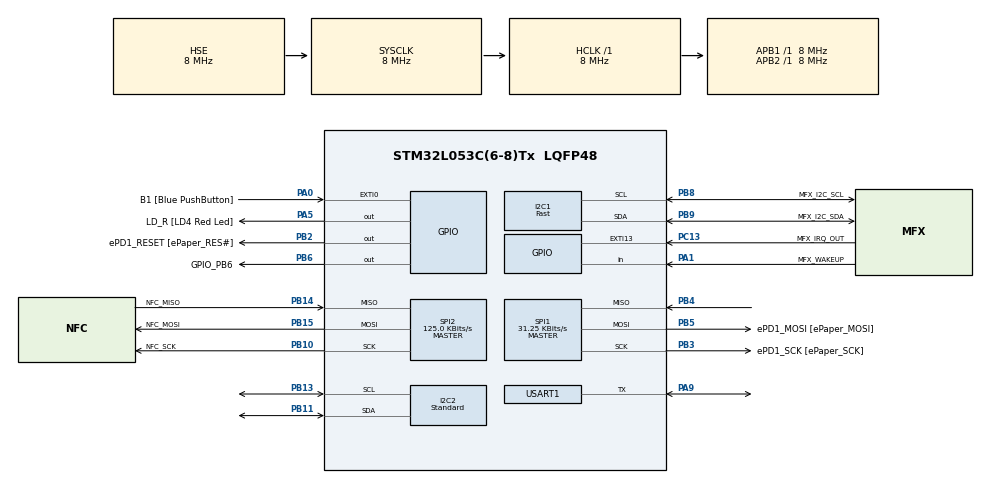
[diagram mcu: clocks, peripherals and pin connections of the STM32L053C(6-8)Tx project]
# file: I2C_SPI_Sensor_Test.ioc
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I2C1.I2C_Speed_Mode=I2C_Fast
I2C1.Timing=0x0000020B
I2C2.I2C_Rise_Time=0
I2C2.I2C_Speed_Mode=I2C_Standard
I2C2.OwnAddress=0
I2C2.Timing=0x2000090E
Mcu.Family=STM32L0
Mcu.Name=STM32L053C(6-8)Tx
Mcu.Package=LQFP48
PA0.GPIO_Label=B1 [Blue PushButton]
PA0.GPIO_ModeDefaultEXTI=GPIO_MODE_EVT_RISING
PA0.GPIO_PuPd=GPIO_NOPULL
PA0.Signal=GPXTI0
PA1.GPIO_Label=MFX_WAKEUP
PA1.Signal=GPIO_Input
PA10.Signal=USART1_RX
PA11.GPIO_Label=USB1_DM
PA11.Signal=USB_DM
PA12.GPIO_Label=USB1_DP
PA12.Signal=USB_DP
PA13.GPIO_Label=SWDIO
PA13.Mode=Serial_Wire
PA13.Signal=SYS_SWDIO
PA14.Mode=Serial_Wire
PA14.Signal=SYS_SWCLK
PA2.Signal=TSC_G1_IO3
PA4.Signal=TSC_G2_IO1
PA5.GPIO_Label=LD_R [LD4 Red Led]
PA5.GPIO_ModeDefaultOutputPP=GPIO_MODE_OUTPUT_PP
PA5.GPIO_PuPd=GPIO_NOPULL
PA5.GPIO_Speed=GPIO_SPEED_FREQ_LOW
PA5.Signal=GPIO_Output
PA6.Signal=TSC_G2_IO3
PA7.Signal=TSC_G2_IO4
PA9.Mode=Half_duplex(single_wire_mode)
PA9.Signal=USART1_TX
PB0.Signal=TSC_G3_IO2
PB1.Signal=TSC_G3_IO3
PB10.GPIO_Label=NFC_SCK
PB10.Mode=Full_Duplex_Master
PB10.Signal=SPI2_SCK
PB11.Mode=I2C
PB11.Signal=I2C2_SDA
PB12.Signal=SPI2_NSS
PB13.Mode=I2C
PB13.Signal=I2C2_SCL
PB14.GPIO_Label=NFC_MISO
PB14.Mode=Full_Duplex_Master
PB14.Signal=SPI2_MISO
PB15.GPIO_Label=NFC_MOSI
PB15.Mode=Full_Duplex_Master
PB15.Signal=SPI2_MOSI
PB2.GPIO_Label=ePD1_RESET [ePaper_RES\#]
PB2.GPIO_ModeDefaultOutputPP=GPIO_MODE_OUTPUT_PP
PB2.GPIO_PuPd=GPIO_NOPULL
PB2.GPIO_Speed=GPIO_SPEED_FREQ_LOW
PB2.Signal=GPIO_Output
PB3.GPIO_Label=ePD1_SCK [ePaper_SCK]
PB3.GPIO_Mode=GPIO_MODE_AF_PP
PB3.GPIO_PuPd=GPIO_NOPULL
PB3.GPIO_Speed=GPIO_SPEED_FREQ_LOW
PB3.Mode=Full_Duplex_Master
PB3.Signal=SPI1_SCK
PB4.Mode=Full_Duplex_Master
PB4.Signal=SPI1_MISO
PB5.GPIO_Label=ePD1_MOSI [ePaper_MOSI]
PB5.GPIO_Mode=GPIO_MODE_AF_PP
PB5.GPIO_PuPd=GPIO_NOPULL
PB5.GPIO_Speed=GPIO_SPEED_FREQ_LOW
PB5.Mode=Full_Duplex_Master
PB5.Signal=SPI1_MOSI
PB6.GPIO_Label=GPIO_PB6
PB6.Signal=GPIO_Output
PB8.GPIO_Label=MFX_I2C_SCL
PB8.GPIO_Pu=GPIO_PULLUP
PB8.Mode=I2C
PB8.Signal=I2C1_SCL
PB9.GPIO_Label=MFX_I2C_SDA
PB9.GPIO_Pu=GPIO_PULLUP
PB9.Mode=I2C
PB9.Signal=I2C1_SDA
PC13.GPIO_Label=MFX_IRQ_OUT
PC13.Signal=GPXTI13
PC14-OSC32_IN.GPIO_Label=PC14-OSC32_IN
PC14-OSC32_IN.Signal=RCC_OSC32_IN
PC15-OSC32_OUT.GPIO_Label=PC15-OSC32_OUT
PC15-OSC32_OUT.Signal=RCC_OSC32_OUT
PH0-OSC_IN.GPIO_Label=MCO
PH0-OSC_IN.Mode=HSE-External-Oscillator
PH0-OSC_IN.Signal=RCC_OSC_IN
PH1-OSC_OUT.Mode=HSE-External-Oscillator
PH1-OSC_OUT.Signal=RCC_OSC_OUT
ProjectManager.HeapSize=0x200
ProjectManager.StackSize=0x400
ProjectManager.TargetToolchain=STM32CubeIDE
RCC.AHBFreq_Value=8000000
RCC.APB1Freq_Value=8000000
RCC.APB1TimFreq_Value=8000000
RCC.APB2Freq_Value=8000000
RCC.APB2TimFreq_Value=8000000
RCC.HCLKFreq_Value=8000000
RCC.HSE_VALUE=8000000
RCC.HSI16_VALUE=16000000
RCC.HSI48MClockSelection=RCC_USBCLKSOURCE_HSI48
RCC.HSI48_VALUE=48000000
RCC.HSI_VALUE=16000000
RCC.LSE_VALUE=32768
RCC.MSI_VALUE=2097000
RCC.PLLDIV=RCC_PLLDIV_3
RCC.PLLMUL=RCC_PLLMUL_12
RCC.PLLSourceVirtual=RCC_PLLSOURCE_HSE
RCC.RTCClockSelectionVirtual=RCC_RTCCLKSOURCE_LSE
RCC.SYSCLKFreq_VALUE=8000000
RCC.SYSCLKSource=RCC_SYSCLKSOURCE_HSE
RCC.VCOOutputFreq_Value=96000000
SPI1.BaudRatePrescaler=SPI_BAUDRATEPRESCALER_256
SPI1.CalculateBaudRate=31.25 KBits/s
SPI1.Direction=SPI_DIRECTION_2LINES
SPI1.Mode=SPI_MODE_MASTER
SPI1.VirtualType=VM_MASTER
SPI2.BaudRatePrescaler=SPI_BAUDRATEPRESCALER_64
SPI2.CLKPolarity=SPI_POLARITY_LOW
SPI2.CalculateBaudRate=125.0 KBits/s
SPI2.DataSize=SPI_DATASIZE_8BIT
SPI2.Direction=SPI_DIRECTION_2LINES
SPI2.Mode=SPI_MODE_MASTER
SPI2.VirtualType=VM_MASTER
USART1.BaudRate=115200
USART1.VirtualMode-Half_duplex(single_wire_mode)=VM_ASYNC
board=STM32L0538-DISCO

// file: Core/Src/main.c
/* USER CODE BEGIN Header */
/**
  ******************************************************************************
  * @file           : main.c
  * @brief          : Main program body for I2C_SPI_Sensor_Test project
  ******************************************************************************
  * @attention
  *
  * Copyright (c) 2021 STMicroelectronics.
  * All rights reserved.
  *
  * This software is licensed under terms that can be found in the LICENSE file
  * in the root directory of this software component.
  * If no LICENSE file comes with this software, it is provided AS-IS.
  *
  ******************************************************************************
  */
/* USER CODE END Header */
#include "main.h"

/* USER CODE BEGIN Includes */
// IMPORTANT: printf prints out over UART - Pins PA10, PA9! NEED A USB-SERIAL CONVERTER
// AND TERMINAL TO SEE STATEMENTS!
#include "printf.h"
#include "NAND_m79a.h"
//#include "interface_methods.h"
//#include "arducam_methods.h"
//#include "ArduCAM.h"
/* USER CODE END Includes */

I2C_HandleTypeDef hi2c1;
I2C_HandleTypeDef hi2c2;

SPI_HandleTypeDef hspi1;
SPI_HandleTypeDef hspi2;

UART_HandleTypeDef huart1;

void SystemClock_Config(void);
static void MX_GPIO_Init(void);
static void MX_SPI2_Init(void);
static void MX_SPI1_Init(void);
static void MX_I2C1_Init(void);
static void MX_I2C2_Init(void);
static void MX_USART1_UART_Init(void);
/* USER CODE BEGIN PFP */
#define testaddr 0x00
#define testwrite 0x55
/* USER CODE END PFP */

/* USER CODE BEGIN 0 */
uint8_t hi2c2_read_reg_IT(uint8_t addr, uint16_t reg_addr){
	uint8_t RxBuf[2];
	HAL_I2C_Master_Transmit_IT(&hi2c2, (addr<<1)|0x01, reg_addr, sizeof(reg_addr));
}
uint16_t hi2c2_read_register(uint8_t address_pointer, uint16_t register_pointer)
{
    HAL_StatusTypeDef status = HAL_OK;
//    uint16_t return_value = 0;
    uint16_t buf[2];
    buf[0] = (uint16_t *)register_pointer;
    buf[1] = 0x00;
    status = HAL_I2C_Master_Transmit(&hi2c2, ((address_pointer<<1) | 0x01), buf, 1, HAL_MAX_DELAY);

    /* Check the communication status */
    if(status != HAL_OK)
    {
    	printf("I2C transmit failed");
    	return;
    }

    status = HAL_I2C_Master_Receive(&hi2c2, (address_pointer<<1) | 0x01, buf, 2, HAL_MAX_DELAY);

    /* Check the communication status */
//    if(status != HAL_OK)
//    {
//    	printf("I2C Recieve failed");
//    	return;
//    }
    return buf[1];
}

void hi2c2_write_register(uint8_t address_pointer,uint8_t register_pointer, uint16_t register_value)
{
    HAL_StatusTypeDef status = HAL_OK;

    status = HAL_I2C_Mem_Write(&hi2c2, address_pointer<<1, (uint16_t)register_pointer, I2C_MEMADD_SIZE_8BIT, (uint8_t*)(&register_value), 2, 100);

    /* Check the communication status */
    if(status != HAL_OK)
    {
        // Error handling, for example re-initialization of the I2C peripheral
    	printf("I2C write to 0x%x failed...\r\n", register_pointer );
    }
}

void scan_i2c(){
	HAL_StatusTypeDef result;
	uint8_t i =0;

	printf("--------------------\r\n");
	printf("Scanning I2C...\r\n");

	for (i=0; i<128; i++){
		result = HAL_I2C_IsDeviceReady(&hi2c2, (uint16_t)(i<<1), 2, 2);

		if (result == HAL_OK){
			printf("I2C address found: 0x%X\r\n", (uint16_t)(i<<1));
		}
	}
	printf("I2C Scan Complete\r\n--------------------\r\n");

}

void test_i2c(){
	    HAL_StatusTypeDef result;
	    uint8_t i;
	    for (i=1; i<128; i++)
	  	{
	  	  result = HAL_I2C_IsDeviceReady(&hi2c1, (uint16_t)(i<<1), 2, 2);

	  	  if (result == HAL_OK)
	  	  {
	  		  printf("I2C address found: 0x%X\r\n", (uint16_t)(i<<1));
	  	  }
	  	}

	    uint8_t reg_ptr = 0x00;
	    uint16_t buffer;
	//    hi2c1_write_register(0x78, reg_ptr, 0x05);

	    // 0xEC is a BME280 I had laying around to test I2C
	    // Upon power up this should be 0x0
	    printf("Reading from 0xF5 on 0xEC\r\n");
	    buffer = hi2c2_read_register(0xEC, 0xF5);
	    printf("Obtained 0x%x\r\n\n", buffer);
	    // write binary 101 to reg
	    printf("\nWriting b101 to 0xF5 on 0xEC\r\n");
	    hi2c2_write_register(0xEC, 0xF5, 0b101);
	    printf("Obtained 0x%x\r\n\n", buffer);
	    // read back to assert it's written properly (redundant; hi2c1_write_register should throw an error if it fails)
	    printf("\nReading from 0xF5 on 0xEC\r\n");
	    buffer = hi2c2_read_register(0xEC, 0xF5);
	    printf("Obtained 0x%x\r\n\n", buffer);
	    // Read test reg for fun
	    printf("\nReading from 0xD0 on 0xEC\r\n");
	    buffer = hi2c2_read_register(0xEC, 0xD0);
	    printf("Obtained 0x%x\r\n\n", buffer);

	    // Try to scan ArduCam chip to no avail :?
	    for (int j=0x3000; j<0x3009; j++){
	    		printf("Reading from 0x%x on 0x79\r\n", j);
	    		buffer = hi2c2_read_register(0x79, j);
	    	    printf("Obtained 0x%x\r\n", buffer);

	    }
}

uint8_t SPI_Write(uint8_t addr, uint8_t data){
	uint8_t txBuf[2] = {(addr | 0x80), data};
	HAL_GPIO_WritePin(GPIO_PB6_GPIO_Port, GPIO_PB6_Pin, GPIO_PIN_RESET);
	uint8_t status = (HAL_SPI_Transmit(&hspi2, txBuf, 2, HAL_MAX_DELAY) == HAL_OK);
	HAL_GPIO_WritePin(GPIO_PB6_GPIO_Port, GPIO_PB6_Pin, GPIO_PIN_SET);

	return status;
}

uint8_t SPI_Read(uint8_t addr, uint8_t *data) {
	uint8_t txBuf[2] = {addr, 0x00};
	uint8_t rxBuf[2];
	HAL_GPIO_WritePin(GPIO_PB6_GPIO_Port, GPIO_PB6_Pin, GPIO_PIN_RESET);
	uint8_t status = (HAL_SPI_TransmitReceive(&hspi2, txBuf, rxBuf, 2, HAL_MAX_DELAY) == HAL_OK);
//	HAL_Delay(100);
	HAL_GPIO_WritePin(GPIO_PB6_GPIO_Port, GPIO_PB6_Pin, GPIO_PIN_SET);
	*data = rxBuf[1];
	return status;
}

void CS_LOW(){
	HAL_GPIO_WritePin(GPIO_PB6_GPIO_Port, GPIO_PB6_Pin, GPIO_PIN_RESET);
}

void CS_HIGH(){
	HAL_GPIO_WritePin(GPIO_PB6_GPIO_Port, GPIO_PB6_Pin, GPIO_PIN_SET);

}
//
//void detect_ov5642(){
//	uint8_t temp=0;
//	CS_LOW();
//	HAL_Delay(100);
//	uint8_t data[2];
//	data[0] = 0x00 | 0x80;
//	data[1] = 0x55;
//	// send spi
//	HAL_SPI_Init(&hspi1);
//	HAL_StatusTypeDef status;
//    char spi_buf[2];
////    status = HAL_SPI_TransmitReceive(&hspi1, &data, (uint8_t *)spi_buf, 2, 100);
//	status = HAL_SPI_Transmit(&hspi1, data, 2, 100);
////    while(HAL_SPI_GetState(&hspi1) != HAL_SPI_STATE_READY);
//	if (status == HAL_OK){
//		printf("Transmitted successfully.\r\n");
//	}
//	else{
//		if (status == HAL_TIMEOUT){
//			printf("Connection timed out\r\n");
//		}
//		printf("Transmission failed.\r\n");
//	}
//	status = HAL_SPI_Receive(&hspi1, (uint8_t *)spi_buf, 2, 100);
////    while(HAL_SPI_GetState(&hspi1) != HAL_SPI_STATE_READY);
//	if (status == HAL_OK){
//		printf("Recieved successfully.\r\n");
//	}
//	else{
//		if (status == HAL_TIMEOUT){
//			printf("Connection timed out\r\n");
//		}
//		printf("Receive failed.\r\n");
//	}
//	HAL_Delay(100);
//	CS_HIGH();
//	printf("Received: 0x%x", spi_buf);
//	}

/* USER CODE END 0 */

int main(void)
{
  /* USER CODE BEGIN 1 */
	// this shouldn't be deleted!

  /* USER CODE END 1 */

  /* MCU Configuration--------------------------------------------------------*/

  /* Reset of all peripherals, Initializes the Flash interface and the Systick. */
  HAL_Init();

  /* Configure the system clock */
  SystemClock_Config();

  /* Initialize all configured peripherals */
  MX_GPIO_Init();
  MX_SPI2_Init();
  MX_SPI1_Init();
  MX_I2C1_Init();
  MX_I2C2_Init();
  MX_USART1_UART_Init();
  /* USER CODE BEGIN 2 */
	HAL_Delay(1000);
	printf("\r\n--------\r\n\r\nProject: I2C__SPI_Sensor_Test; V0.1\r\nInitializing UART..\n\rConnected to UART.\r\n");

//	scan_i2c();
//	HAL_I2C_IsDeviceReady(&hi2c2, (uint16_t)(0x78<<1), 2, 2);

	CS_HIGH();
//	printf("Testing SPI Connection\r\n");
//	detect_ov5642();
  /* USER CODE END 2 */

  /* Infinite loop */
  /* USER CODE BEGIN WHILE */
//	uint8_t data[2];
//	data[0] = 0x00 | 0x80;
//	data[1] = 0x55;
//	// send spi
//	HAL_StatusTypeDef status;
//	uint8_t spi_buf[2];

	uint8_t data;
//    HAL_StatusTypeDef result;
    static const uint8_t addr = 0x3C;
    uint16_t reg = 0x300A;

	NANDReturnType result;
	char helloworld[] = "Hello World";

	while (1)
	{
//		######### SPI RW
//		SPI_Write(0x00, 0x11);
//		HAL_Delay(100);
//		SPI_Read(0x00, &data);6
//		if (data != 0){
//			printf("0x00: 0x%x\r\n", data);
//		}
//		reg = 0x300A;
//		data = hi2c2_read_register(addr, reg);
//		printf("Addr: 0x%x: Reg: 0x%x: Data: 0x%x\r\n", (addr <<1) |0x01, reg, data);
//		reg = 0x300B;
//		data = hi2c2_read_register(addr, reg);
//		printf("Addr: 0x%x: Reg: 0x%x: Data: 0x%x\r\n", (addr <<1) |0x01, reg, data);

		result = NAND_Init(&hspi2);
		if (result == Ret_Success){
			printf("NAND Initialized successfully");
			return;
		}
		printf("NAND is borked :(");

//		  HAL_SPI_DeInit(&hspi2);
//
//		  HAL_SPI_Init(&hspi2);
//		  HAL_SPI_Transmit(&hspi2, (uint8_t *)helloworld, sizeof(helloworld), HAL_MAX_DELAY);
//		  HAL_SPI_DeInit(&hspi2);
//
//		  NAND_Init(&hspi2);

		HAL_Delay(1000);

//		HAL_SPI_Init(&hspi2);
//		for (int i=0x00; i<0x45; i++){
//	        SPI_Read(i, &data);
//	        if (data != 0){
//		        printf("Reading from 0x%x: 0x%x\r\n", i, data);
//	        }
//			HAL_Delay(50);
//		}
		printf("--------\r\n");

//		HAL_SPI_DeInit(&hspi2);
    /* USER CODE END WHILE */

	}
}

void SystemClock_Config(void)
{
  RCC_OscInitTypeDef RCC_OscInitStruct = {0};
  RCC_ClkInitTypeDef RCC_ClkInitStruct = {0};
  RCC_PeriphCLKInitTypeDef PeriphClkInit = {0};

  /** Configure the main internal regulator output voltage
  */
  __HAL_PWR_VOLTAGESCALING_CONFIG(PWR_REGULATOR_VOLTAGE_SCALE1);
  /** Initializes the RCC Oscillators according to the specified parameters
  * in the RCC_OscInitTypeDef structure.
  */
  RCC_OscInitStruct.OscillatorType = RCC_OSCILLATORTYPE_HSE;
  RCC_OscInitStruct.HSEState = RCC_HSE_ON;
  RCC_OscInitStruct.PLL.PLLState = RCC_PLL_NONE;
  if (HAL_RCC_OscConfig(&RCC_OscInitStruct) != HAL_OK)
  {
    Error_Handler();
  }
  /** Initializes the CPU, AHB and APB buses clocks
  */
  RCC_ClkInitStruct.ClockType = RCC_CLOCKTYPE_HCLK|RCC_CLOCKTYPE_SYSCLK
                              |RCC_CLOCKTYPE_PCLK1|RCC_CLOCKTYPE_PCLK2;
  RCC_ClkInitStruct.SYSCLKSource = RCC_SYSCLKSOURCE_HSE;
  RCC_ClkInitStruct.AHBCLKDivider = RCC_SYSCLK_DIV1;
  RCC_ClkInitStruct.APB1CLKDivider = RCC_HCLK_DIV1;
  RCC_ClkInitStruct.APB2CLKDivider = RCC_HCLK_DIV1;

  if (HAL_RCC_ClockConfig(&RCC_ClkInitStruct, FLASH_LATENCY_0) != HAL_OK)
  {
    Error_Handler();
  }
  PeriphClkInit.PeriphClockSelection = RCC_PERIPHCLK_USART1|RCC_PERIPHCLK_I2C1;
  PeriphClkInit.Usart1ClockSelection = RCC_USART1CLKSOURCE_PCLK2;
  PeriphClkInit.I2c1ClockSelection = RCC_I2C1CLKSOURCE_PCLK1;
  if (HAL_RCCEx_PeriphCLKConfig(&PeriphClkInit) != HAL_OK)
  {
    Error_Handler();
  }
}

static void MX_I2C1_Init(void)
{

  hi2c1.Instance = I2C1;
  hi2c1.Init.Timing = 0x0000020B;
  hi2c1.Init.OwnAddress1 = 0;
  hi2c1.Init.AddressingMode = I2C_ADDRESSINGMODE_7BIT;
  hi2c1.Init.DualAddressMode = I2C_DUALADDRESS_DISABLE;
  hi2c1.Init.OwnAddress2 = 0;
  hi2c1.Init.OwnAddress2Masks = I2C_OA2_NOMASK;
  hi2c1.Init.GeneralCallMode = I2C_GENERALCALL_DISABLE;
  hi2c1.Init.NoStretchMode = I2C_NOSTRETCH_DISABLE;
  if (HAL_I2C_Init(&hi2c1) != HAL_OK)
  {
    Error_Handler();
  }
  /** Configure Analogue filter
  */
  if (HAL_I2CEx_ConfigAnalogFilter(&hi2c1, I2C_ANALOGFILTER_ENABLE) != HAL_OK)
  {
    Error_Handler();
  }
  /** Configure Digital filter
  */
  if (HAL_I2CEx_ConfigDigitalFilter(&hi2c1, 0) != HAL_OK)
  {
    Error_Handler();
  }

}

static void MX_I2C2_Init(void)
{

  hi2c2.Instance = I2C2;
  hi2c2.Init.Timing = 0x2000090E;
  hi2c2.Init.OwnAddress1 = 0;
  hi2c2.Init.AddressingMode = I2C_ADDRESSINGMODE_7BIT;
  hi2c2.Init.DualAddressMode = I2C_DUALADDRESS_DISABLE;
  hi2c2.Init.OwnAddress2 = 0;
  hi2c2.Init.OwnAddress2Masks = I2C_OA2_NOMASK;
  hi2c2.Init.GeneralCallMode = I2C_GENERALCALL_DISABLE;
  hi2c2.Init.NoStretchMode = I2C_NOSTRETCH_DISABLE;
  if (HAL_I2C_Init(&hi2c2) != HAL_OK)
  {
    Error_Handler();
  }
  /** Configure Analogue filter
  */
  if (HAL_I2CEx_ConfigAnalogFilter(&hi2c2, I2C_ANALOGFILTER_ENABLE) != HAL_OK)
  {
    Error_Handler();
  }
  /** Configure Digital filter
  */
  if (HAL_I2CEx_ConfigDigitalFilter(&hi2c2, 0) != HAL_OK)
  {
    Error_Handler();
  }

}

static void MX_SPI1_Init(void)
{

  /* SPI1 parameter configuration*/
  hspi1.Instance = SPI1;
  hspi1.Init.Mode = SPI_MODE_MASTER;
  hspi1.Init.Direction = SPI_DIRECTION_2LINES;
  hspi1.Init.DataSize = SPI_DATASIZE_8BIT;
  hspi1.Init.CLKPolarity = SPI_POLARITY_LOW;
  hspi1.Init.CLKPhase = SPI_PHASE_1EDGE;
  hspi1.Init.NSS = SPI_NSS_SOFT;
  hspi1.Init.BaudRatePrescaler = SPI_BAUDRATEPRESCALER_256;
  hspi1.Init.FirstBit = SPI_FIRSTBIT_MSB;
  hspi1.Init.TIMode = SPI_TIMODE_DISABLE;
  hspi1.Init.CRCCalculation = SPI_CRCCALCULATION_DISABLE;
  hspi1.Init.CRCPolynomial = 7;
  if (HAL_SPI_Init(&hspi1) != HAL_OK)
  {
    Error_Handler();
  }

}

static void MX_SPI2_Init(void)
{

  /* SPI2 parameter configuration*/
  hspi2.Instance = SPI2;
  hspi2.Init.Mode = SPI_MODE_MASTER;
  hspi2.Init.Direction = SPI_DIRECTION_2LINES;
  hspi2.Init.DataSize = SPI_DATASIZE_8BIT;
  hspi2.Init.CLKPolarity = SPI_POLARITY_LOW;
  hspi2.Init.CLKPhase = SPI_PHASE_1EDGE;
  hspi2.Init.NSS = SPI_NSS_SOFT;
  hspi2.Init.BaudRatePrescaler = SPI_BAUDRATEPRESCALER_64;
  hspi2.Init.FirstBit = SPI_FIRSTBIT_MSB;
  hspi2.Init.TIMode = SPI_TIMODE_DISABLE;
  hspi2.Init.CRCCalculation = SPI_CRCCALCULATION_DISABLE;
  hspi2.Init.CRCPolynomial = 7;
  if (HAL_SPI_Init(&hspi2) != HAL_OK)
  {
    Error_Handler();
  }

}

static void MX_USART1_UART_Init(void)
{

  huart1.Instance = USART1;
  huart1.Init.BaudRate = 115200;
  huart1.Init.WordLength = UART_WORDLENGTH_8B;
  huart1.Init.StopBits = UART_STOPBITS_1;
  huart1.Init.Parity = UART_PARITY_NONE;
  huart1.Init.Mode = UART_MODE_TX_RX;
  huart1.Init.HwFlowCtl = UART_HWCONTROL_NONE;
  huart1.Init.OverSampling = UART_OVERSAMPLING_16;
  huart1.Init.OneBitSampling = UART_ONE_BIT_SAMPLE_DISABLE;
  huart1.AdvancedInit.AdvFeatureInit = UART_ADVFEATURE_NO_INIT;
  if (HAL_HalfDuplex_Init(&huart1) != HAL_OK)
  {
    Error_Handler();
  }

}

static void MX_GPIO_Init(void)
{
  GPIO_InitTypeDef GPIO_InitStruct = {0};

  /* GPIO Ports Clock Enable */
  __HAL_RCC_GPIOC_CLK_ENABLE();
  __HAL_RCC_GPIOH_CLK_ENABLE();
  __HAL_RCC_GPIOA_CLK_ENABLE();
  __HAL_RCC_GPIOB_CLK_ENABLE();

  /*Configure GPIO pin Output Level */
  HAL_GPIO_WritePin(LD_R_GPIO_Port, LD_R_Pin, GPIO_PIN_RESET);

  /*Configure GPIO pin Output Level */
  HAL_GPIO_WritePin(GPIOB, ePD1_RESET_Pin|GPIO_PB6_Pin, GPIO_PIN_RESET);

  /*Configure GPIO pin : MFX_IRQ_OUT_Pin */
  GPIO_InitStruct.Pin = MFX_IRQ_OUT_Pin;
  GPIO_InitStruct.Mode = GPIO_MODE_IT_RISING;
  GPIO_InitStruct.Pull = GPIO_NOPULL;
  HAL_GPIO_Init(MFX_IRQ_OUT_GPIO_Port, &GPIO_InitStruct);

  /*Configure GPIO pin : B1_Pin */
  GPIO_InitStruct.Pin = B1_Pin;
  GPIO_InitStruct.Mode = GPIO_MODE_EVT_RISING;
  GPIO_InitStruct.Pull = GPIO_NOPULL;
  HAL_GPIO_Init(B1_GPIO_Port, &GPIO_InitStruct);

  /*Configure GPIO pin : MFX_WAKEUP_Pin */
  GPIO_InitStruct.Pin = MFX_WAKEUP_Pin;
  GPIO_InitStruct.Mode = GPIO_MODE_INPUT;
  GPIO_InitStruct.Pull = GPIO_NOPULL;
  HAL_GPIO_Init(MFX_WAKEUP_GPIO_Port, &GPIO_InitStruct);

  /*Configure GPIO pins : PA2 PA4 PA6 PA7 */
  GPIO_InitStruct.Pin = GPIO_PIN_2|GPIO_PIN_4|GPIO_PIN_6|GPIO_PIN_7;
  GPIO_InitStruct.Mode = GPIO_MODE_AF_PP;
  GPIO_InitStruct.Pull = GPIO_NOPULL;
  GPIO_InitStruct.Speed = GPIO_SPEED_FREQ_LOW;
  GPIO_InitStruct.Alternate = GPIO_AF3_TSC;
  HAL_GPIO_Init(GPIOA, &GPIO_InitStruct);

  /*Configure GPIO pin : LD_R_Pin */
  GPIO_InitStruct.Pin = LD_R_Pin;
  GPIO_InitStruct.Mode = GPIO_MODE_OUTPUT_PP;
  GPIO_InitStruct.Pull = GPIO_NOPULL;
  GPIO_InitStruct.Speed = GPIO_SPEED_FREQ_LOW;
  HAL_GPIO_Init(LD_R_GPIO_Port, &GPIO_InitStruct);

  /*Configure GPIO pins : PB0 PB1 */
  GPIO_InitStruct.Pin = GPIO_PIN_0|GPIO_PIN_1;
  GPIO_InitStruct.Mode = GPIO_MODE_AF_PP;
  GPIO_InitStruct.Pull = GPIO_NOPULL;
  GPIO_InitStruct.Speed = GPIO_SPEED_FREQ_LOW;
  GPIO_InitStruct.Alternate = GPIO_AF3_TSC;
  HAL_GPIO_Init(GPIOB, &GPIO_InitStruct);

  /*Configure GPIO pins : ePD1_RESET_Pin GPIO_PB6_Pin */
  GPIO_InitStruct.Pin = ePD1_RESET_Pin|GPIO_PB6_Pin;
  GPIO_InitStruct.Mode = GPIO_MODE_OUTPUT_PP;
  GPIO_InitStruct.Pull = GPIO_NOPULL;
  GPIO_InitStruct.Speed = GPIO_SPEED_FREQ_LOW;
  HAL_GPIO_Init(GPIOB, &GPIO_InitStruct);

}

void Error_Handler(void)
{
  __disable_irq();
  while (1)
  {
  }
}
